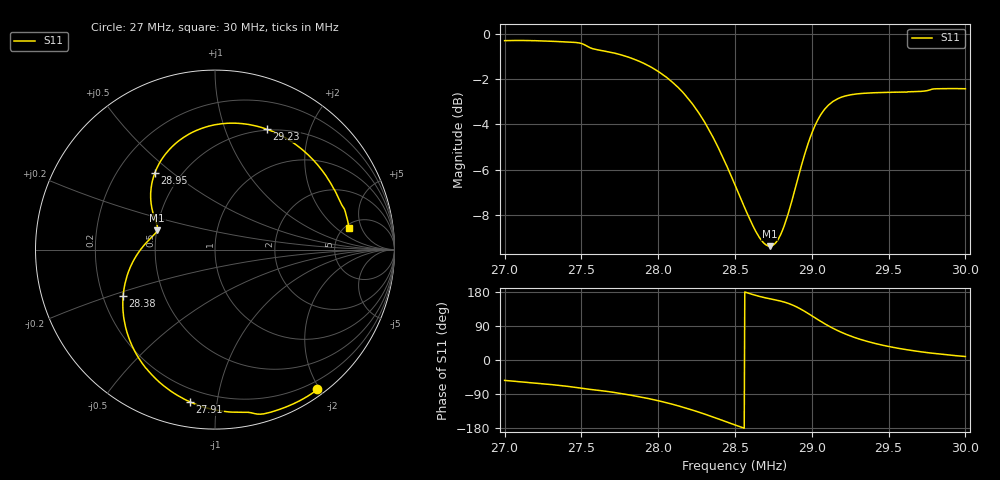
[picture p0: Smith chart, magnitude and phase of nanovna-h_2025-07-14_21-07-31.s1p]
! NanoVNA-App by OneOfEleven et al v1.1.209 (+OD18)
! Date: 2025-07-14 21:07:32
! Start: 27MHz Stop: 30MHz Points: 801
! S-Parameter data: F S11
# Hz S RI R 50
!  Frequency  S11_Real  S11_Imag
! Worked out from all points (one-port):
!   801 points, 27 MHz to 30 MHz, reference 50 ohm
!   lowest |S11| = -9.4 dB at 28.73 MHz (marker M1), VSWR 2.03, Z = 25.1 + j6.06 ohm
!   |S11| at or under -10 dB: nowhere
!   S11 on the Smith chart (normalised r, x): 27 MHz: 0.09, -1.97; 27.91 MHz: 0.13, -0.84; 28.38 MHz: 0.29, -0.22; 28.95 MHz: 0.36, +0.43; 29.23 MHz: 0.49, +1.41; 30 MHz: 5.45, +3.05
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2.7e7  0.5702 -0.7791
2.718375e7  0.48 -0.8375
2.7375e7  0.3609 -0.8896
2.75025e7  0.2522 -0.917
2.775e7  0.0321 -0.8992
2.79075e7  -0.1388 -0.8486
2.802e7  -0.2703 -0.7709
2.8125e7  -0.3868 -0.6587
2.826e7  -0.4911 -0.4582
2.837625e7  -0.5119 -0.2585
2.85e7  -0.4581 -0.069
2.860125e7  -0.3842 0.0368
2.8725e7  -0.3221 0.1066
2.881125e7  -0.3318 0.1622
2.8875e7  -0.3548 0.2487
2.895375e7  -0.336 0.4248
2.901e7  -0.2514 0.5608
2.90475e7  -0.1644 0.6319
2.9085e7  -0.0647 0.6788
2.914875e7  0.1059 0.7045
2.923125e7  0.2907 0.6699
2.925e7  0.3255 0.6563
2.9325e7  0.4408 0.592
2.941125e7  0.5352 0.5122
2.950875e7  0.6081 0.4257
2.9625e7  0.6651 0.3343
2.980125e7  0.7217 0.224
3e7  0.7465 0.1198
